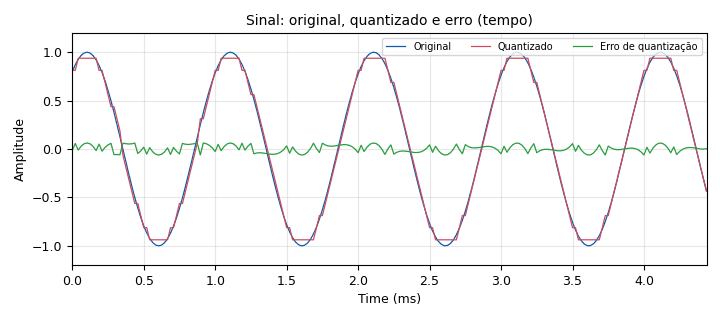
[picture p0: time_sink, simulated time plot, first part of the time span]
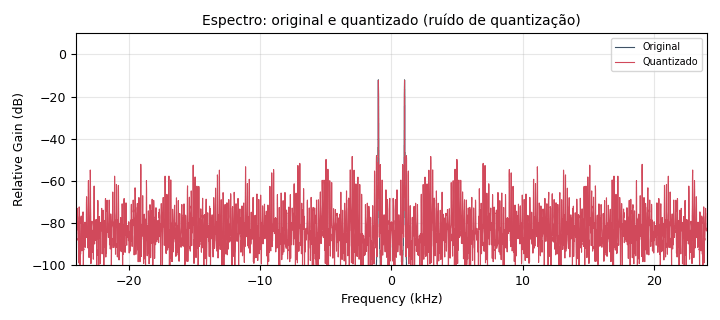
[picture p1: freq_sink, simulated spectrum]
options:
  parameters:
    author: Prof. Daniel Costa Araújo
    description: Prática 08 - Quantização PCM
    generate_options: qt_gui
    id: pratica_08_quantizacao_pcm
    output_language: python
    title: Prática 08 - Quantização PCM
  states: {}

blocks:
- name: samp_rate
  id: variable
  parameters:
    comment: Taxa de amostragem
    value: '48000'
  states: {}
- name: vmax
  id: variable
  parameters:
    comment: Tensão de fundo de escala (faixa [-vmax,+vmax], Vpp=2*vmax)
    value: '1.0'
  states: {}
- name: f_sinal
  id: variable
  parameters:
    comment: Frequência da senoide (incomensurável com samp_rate)
    value: '997'
  states: {}
- name: ma_len
  id: variable
  parameters:
    comment: Janela da média móvel (medição de potência)
    value: '16384'
  states: {}
- name: n_bits
  id: variable_qtgui_range
  parameters:
    comment: Número de bits do quantizador
    gui_hint: 0,0,1,1
    label: Número de bits (n)
    rangeType: int
    start: '2'
    step: '1'
    stop: '16'
    value: '4'
  states: {}
- name: src_sinal
  id: analog_sig_source_x
  parameters:
    amp: vmax
    comment: Senoide de fundo de escala x(t)=vmax*cos(2*pi*f_sinal*t)
    freq: f_sinal
    offset: '0'
    phase: '0'
    samp_rate: samp_rate
    type: float
    waveform: analog.GR_COS_WAVE
  states: {}
- name: throttle
  id: blocks_throttle2
  parameters:
    samples_per_second: samp_rate
    type: float
  states: {}
- name: quantizador
  id: epy_block
  parameters:
    _source_code: |
      """
      Embedded Python Block -- Quantizador Uniforme PCM (mid-rise)
      ============================================================
      Quantizador uniforme de n_bits na faixa [-vmax, +vmax].

        L     = 2**n_bits          numero de niveis
        Delta = 2*vmax / L         passo de quantizacao
        y     = Delta*(floor(x/Delta) + 0.5)   nivel mais proximo (mid-rise)

      Erro de quantizacao limitado a [-Delta/2, +Delta/2], com potencia
      Pq = Delta**2 / 12. Para uma senoide de fundo de escala o SQNR teorico
      vale 1,76 + 6,02*n_bits dB (regra dos 6 dB/bit vista em sala).

      Cole este codigo em um bloco "Embedded Python Block" do GNU Radio
      Companion, ou mantenha o arquivo ao lado do .grc.
      """

      import numpy as np
      from gnuradio import gr


      class blk(gr.sync_block):
          def __init__(self, n_bits=3, vmax=1.0):
              gr.sync_block.__init__(
                  self,
                  name="Quantizador PCM (n_bits)",
                  in_sig=[np.float32],
                  out_sig=[np.float32],
              )
              self.n_bits = int(n_bits)
              self.vmax = float(vmax)

          @property
          def delta(self):
              return 2.0 * self.vmax / (2 ** self.n_bits)

          def work(self, input_items, output_items):
              delta = self.delta
              x = np.clip(input_items[0], -self.vmax, self.vmax - 1e-9)
              output_items[0][:] = delta * (np.floor(x / delta) + 0.5)
              return len(output_items[0])
    comment: Quantizador uniforme PCM mid-rise de n_bits
    n_bits: n_bits
    vmax: vmax
  states: {}
- name: erro
  id: blocks_sub_xx
  parameters:
    comment: Erro de quantização e[n]=x[n]-x_q[n]
    type: float
  states: {}
- name: sq_sinal
  id: blocks_multiply_xx
  parameters:
    comment: x[n]^2
    type: float
  states: {}
- name: sq_erro
  id: blocks_multiply_xx
  parameters:
    comment: e[n]^2
    type: float
  states: {}
- name: ma_sinal
  id: blocks_moving_average_xx
  parameters:
    comment: Potência média do sinal Ps
    length: ma_len
    max_iter: ma_len
    scale: 1.0/ma_len
    type: float
  states: {}
- name: ma_erro
  id: blocks_moving_average_xx
  parameters:
    comment: Potência média do erro Pq
    length: ma_len
    max_iter: ma_len
    scale: 1.0/ma_len
    type: float
  states: {}
- name: razao
  id: blocks_divide_xx
  parameters:
    comment: Ps/Pq
    type: float
  states: {}
- name: sqnr_db
  id: blocks_nlog10_ff
  parameters:
    comment: SQNR(dB)=10*log10(Ps/Pq)
    k: '0'
    n: '10'
  states: {}
- name: num_sink_sqnr
  id: qtgui_number_sink
  parameters:
    color1: ("black","black")
    comment: SQNR medido em dB
    graph_type: qtgui.NUM_GRAPH_HORIZ
    gui_hint: 1,0,1,2
    label1: SQNR medido (dB)
    max: '100'
    min: '0'
    name: '"SQNR (dB)"'
    type: float
    unit1: dB
  states: {}
- name: time_sink
  id: qtgui_time_sink_x
  parameters:
    grid: 'True'
    gui_hint: 2,0,1,2
    label1: Original
    label2: Quantizado
    label3: Erro de quantização
    name: '"Sinal: original, quantizado e erro (tempo)"'
    nconnections: '3'
    size: '1024'
    srate: samp_rate
    type: float
    ymax: '1.2'
    ymin: '-1.2'
  states: {}
- name: freq_sink
  id: qtgui_freq_sink_x
  parameters:
    bw: samp_rate
    fc: '0'
    fftsize: '4096'
    grid: 'True'
    gui_hint: 3,0,1,2
    label1: Original
    label2: Quantizado
    name: '"Espectro: original e quantizado (ruído de quantização)"'
    nconnections: '2'
    type: float
    wintype: window.WIN_HANN
    ymin: '-100'
  states: {}

connections:
- [src_sinal, '0', throttle, '0']
- [throttle, '0', quantizador, '0']
- [throttle, '0', time_sink, '0']
- [quantizador, '0', time_sink, '1']
- [erro, '0', time_sink, '2']
- [throttle, '0', freq_sink, '0']
- [quantizador, '0', freq_sink, '1']
- [throttle, '0', erro, '0']
- [quantizador, '0', erro, '1']
- [throttle, '0', sq_sinal, '0']
- [throttle, '0', sq_sinal, '1']
- [erro, '0', sq_erro, '0']
- [erro, '0', sq_erro, '1']
- [sq_sinal, '0', ma_sinal, '0']
- [sq_erro, '0', ma_erro, '0']
- [ma_sinal, '0', razao, '0']
- [ma_erro, '0', razao, '1']
- [razao, '0', sqnr_db, '0']
- [sqnr_db, '0', num_sink_sqnr, '0']

metadata:
  file_format: 1
  grc_version: 3.10.12.0
